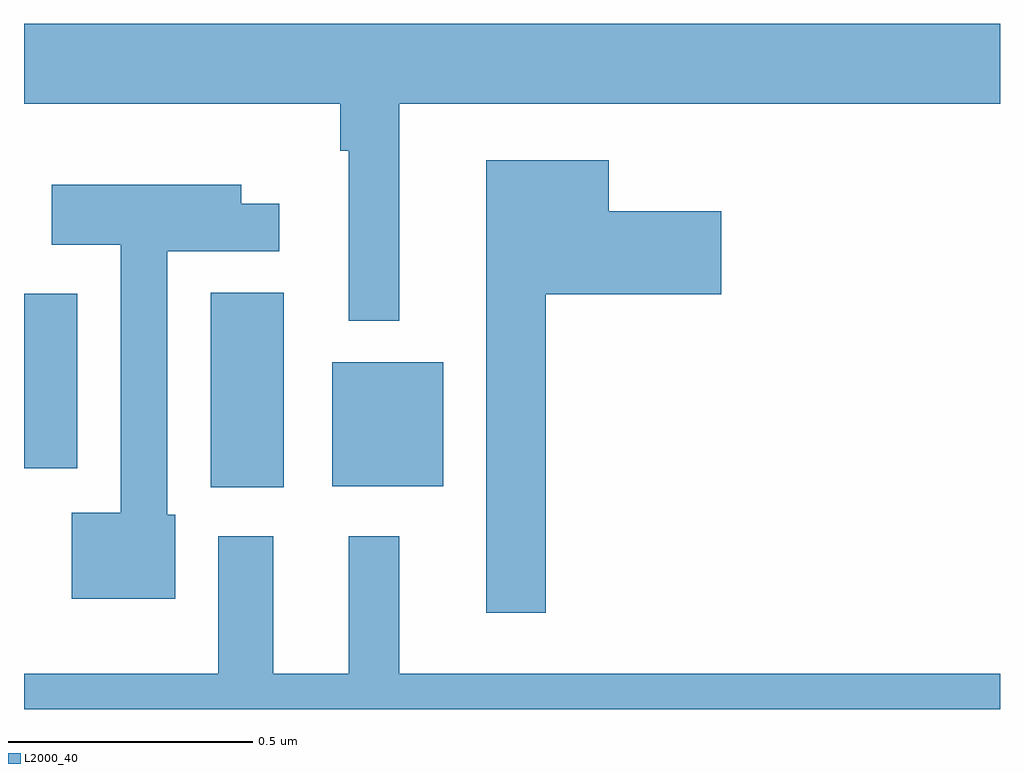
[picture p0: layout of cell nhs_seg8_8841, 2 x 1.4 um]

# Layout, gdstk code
import gdstk
lib = gdstk.Library(unit=1e-6, precision=1e-09)
def R(c, l, rs):  # rectangles x0, y0, x1, y1
    for r in rs: c.add(gdstk.rectangle(r[:2], r[2:], *l))
def P(c, l, *ps):  # polygons
    for p in ps: c.add(gdstk.Polygon(p, *l))
L2000_40 = (2000, 40)

nhs_seg8_8841 = lib.new_cell('nhs_seg8_8841')
R(nhs_seg8_8841, L2000_40, [(228.383,1142.355,228.532,1142.753), (228.632,1142.357,228.859,1142.611), (228,1142.394,228.109,1142.751)])
P(nhs_seg8_8841, L2000_40, [(228.769,1143.14),(230,1143.14),(230,1143.304),(228,1143.304),(228,1143.14),(228.648,1143.14),(228.648,1143.044),(228.665,1143.044),(228.665,1142.696),(228.769,1142.696)],
  [(229.069,1142.75),(229.429,1142.75),(229.429,1142.92),(229.198,1142.92),(229.198,1143.025),(228.947,1143.025),(228.947,1142.097),(229.069,1142.097)],
  [(228.31,1142.298),(228.294,1142.298),(228.294,1142.838),(228.523,1142.838),(228.523,1142.936),(228.445,1142.936),(228.445,1142.974),(228.057,1142.974),(228.057,1142.852),(228.198,1142.852),(228.198,1142.302),(228.098,1142.302),(228.098,1142.126),(228.31,1142.126)],
  [(230,1141.972),(228.769,1141.972),(228.769,1142.254),(228.665,1142.254),(228.665,1141.972),(228.511,1141.972),(228.511,1142.254),(228.398,1142.254),(228.398,1141.972),(228,1141.972),(228,1141.9),(230,1141.9)])

lib.write_gds('nhs_seg8_8841.gds')
